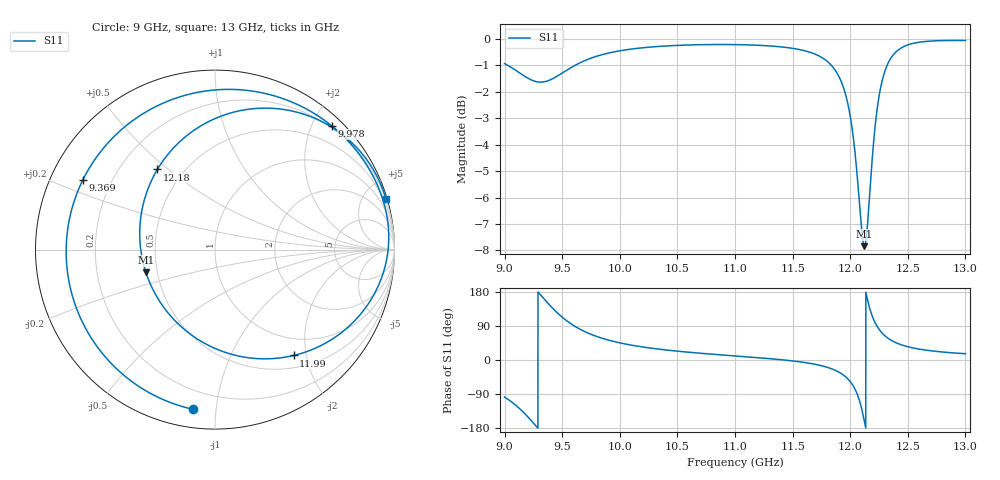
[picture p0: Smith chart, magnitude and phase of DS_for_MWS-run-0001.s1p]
! TOUCHSTONE file generated by CST DESIGN STUDIO
! Date and time: Tue Feb  4 16:13:09 2025
! Project name: C:\Work\MatlabApps\UnitCellOptimizationMatlab\CST\unitcell.cst
! Tree item: Tasks\Sweep1\SPara1\S-Parameters
! Header version: 2024
! Port assignment regex: !\s*Touchstone port\s*([0-9]+)\s*=\s*(CST MWS port|CST DES external port|CST DES block port)\s*(.+)\s* \(\"(.*)\"\)(\s*mode\s*([0-9]+))?.*
! Touchstone port assignment:
! Touchstone port 1 = CST DES external port 1 ("")
# GHz S MA R 50
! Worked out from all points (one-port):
!   4001 points, 9 GHz to 13 GHz, reference 50 ohm
!   lowest |S11| = -7.8 dB at 12.12 GHz (marker M1), VSWR 2.36, Z = 21.6 - j6.57 ohm
!   |S11| at or under -10 dB: nowhere
!   S11 on the Smith chart (normalised r, x): 9 GHz: 0.09, -0.87; 9.369 GHz: 0.10, +0.25; 9.978 GHz: 0.17, +2.31; 11.99 GHz: 0.69, -1.78; 12.18 GHz: 0.36, +0.46; 13 GHz: 0.16, +6.85
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9  0.8981 -97.8
9.116  0.8666 -124.4
9.227  0.8375 -158.4
9.297  0.8288 177.2
9.369  0.8324 152.1
9.435  0.845 131.0
9.5  0.8619 113.0
9.597  0.8878 91.4
9.723  0.915 71.2
9.978  0.9478 46.7
10  0.9496 45.2
10.5  0.9723 23.3
11  0.9757 10.7
11.5  0.9599 -2.4
11.828  0.8955 -22.0
11.92  0.8326 -35.3
11.99  0.7349 -53.4
12  0.7149 -57.0
12.066  0.5341 -94.1
12.094  0.4487 -122.0
12.123  0.4054 -161.7
12.151  0.4476 158.0
12.18  0.55 125.7
12.222  0.7015 95.1
12.271  0.8219 73.2
12.367  0.9291 50.1
12.5  0.9744 35.0
13  0.9933 16.6
